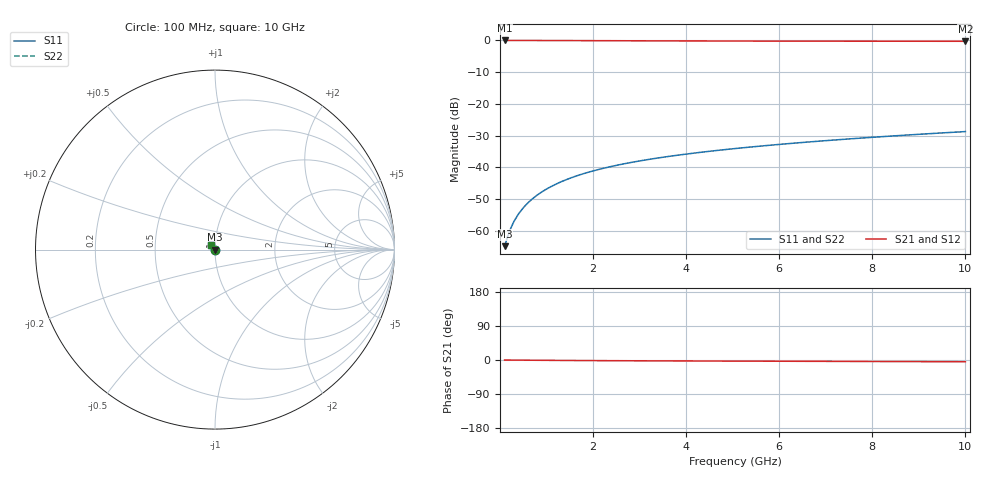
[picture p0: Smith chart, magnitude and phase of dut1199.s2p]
! Touchstone file exported from HFSS 2024.1.0
!  File:  C:/UserFiles/LocalFiles/RDL_TSV_Batchsim/temp_TSV1_1199_1780076322.aedt
!  Generated:  01:45:01 AM May 30, 2026
!  Design:  TSV1
!  Project:  temp_TSV1_1199_1780076322
!  Setup:  Setup1
!  Solution:  Sweep
! Variables:
!  dtsv = 5.89um
!  hbump = 3um
!  htsv = 63.14um
!  lrdl = 252.1521522um
!  p = 40
!  p1 = 58.01um
!  t = 500um
!  trdl = 3um
!  wrdl = 24.89489489um
# GHz S MA R 50.000000
! Terminal data exported
! Port[1] = TSV22_T1
! Port[2] = TSV22_T2
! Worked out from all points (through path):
!   100 points, 100 MHz to 10 GHz, reference 50 ohm
!   highest |S21| = 0.00 dB at 100 MHz (marker M1); lowest = -0.3 dB at 10 GHz (marker M2)
!   lowest |S11| = -64.8 dB at 100 MHz (marker M3), VSWR 1.00, Z = 50 - j0.047 ohm
!   |S11| at or under -10 dB: start of sweep to end of sweep
!   |S22| runs from -64.8 to -28.7 dB; largest |S21 - S12| = 1.3e-15
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0.1  0.0005731 -55.1  0.9996 -0.1  0.9996 -0.1  0.0005731 -55.1
! Gamma 0 0 0 0
! Port Impedance 50 0 50 0
0.2  0.0009715 -74.7  0.9995 -0.2  0.9995 -0.2  0.0009715 -74.7
0.3  0.001405 -84.4  0.9994 -0.3  0.9994 -0.3  0.001405 -84.4
0.4  0.001851 -90.7  0.9992 -0.4  0.9992 -0.4  0.001851 -90.7
0.5  0.002302 -95.7  0.999 -0.4  0.999 -0.4  0.002302 -95.7
0.6  0.002754 -99.9  0.9988 -0.5  0.9988 -0.5  0.002754 -99.9
0.7  0.003206 -103.6  0.9985 -0.6  0.9985 -0.6  0.003206 -103.6
0.8  0.003657 -107.1  0.9981 -0.7  0.9981 -0.7  0.003657 -107.1
0.9  0.004105 -110.3  0.9978 -0.8  0.9978 -0.8  0.004105 -110.3
1.1  0.004993 -116.4  0.997 -0.9  0.997 -0.9  0.004993 -116.4
1.4  0.006296 -124.8  0.9956 -1.2  0.9956 -1.2  0.006296 -124.8
1.6  0.007143 -130.0  0.9946 -1.3  0.9946 -1.3  0.007143 -130.0
1.8  0.007974 -135.0  0.9935 -1.4  0.9935 -1.4  0.007974 -135.0
2.1  0.009187 -142.1  0.9918 -1.6  0.9918 -1.6  0.009187 -142.1
2.5  0.01075 -150.8  0.9896 -1.9  0.9896 -1.9  0.01075 -150.8
2.9  0.01225 -158.8  0.9875 -2.1  0.9875 -2.1  0.01225 -158.8
3.4  0.01407 -167.8  0.985 -2.3  0.985 -2.3  0.01407 -167.8
4.2  0.01688 179.8  0.9816 -2.6  0.9816 -2.6  0.01688 179.8
5.1  0.01995 168.4  0.9785 -2.9  0.9785 -2.9  0.01995 168.4
6.7  0.02535 153.0  0.9747 -3.5  0.9747 -3.5  0.02535 153.0
8.4  0.03112 141.3  0.9719 -4.1  0.9719 -4.1  0.03112 141.3
10  0.03663 133.1  0.9701 -4.6  0.9701 -4.6  0.03663 133.1
